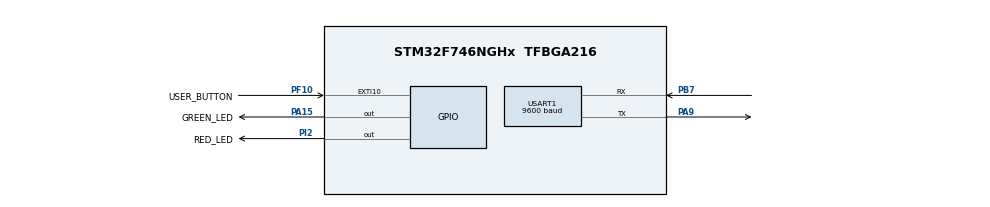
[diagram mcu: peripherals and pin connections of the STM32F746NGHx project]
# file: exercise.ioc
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Mcu.Family=STM32F7
Mcu.Name=STM32F746NGHx
Mcu.Package=TFBGA216
NVIC.EXTI15_10_IRQn=true\:0\:0\:false\:false\:true\:true\:true
NVIC.PriorityGroup=NVIC_PRIORITYGROUP_4
NVIC.TIM8_TRG_COM_TIM14_IRQn=true\:0\:0\:false\:false\:true\:false\:true
NVIC.TimeBase=TIM8_TRG_COM_TIM14_IRQn
NVIC.TimeBaseIP=TIM14
NVIC.USART1_IRQn=true\:0\:0\:false\:false\:true\:true\:true
PA13.Mode=Serial_Wire
PA13.Signal=SYS_JTMS-SWDIO
PA14.Mode=Serial_Wire
PA14.Signal=SYS_JTCK-SWCLK
PA15.GPIO_Label=GREEN_LED
PA15.Signal=GPIO_Output
PA9.Mode=Asynchronous
PA9.Signal=USART1_TX
PB7.Mode=Asynchronous
PB7.Signal=USART1_RX
PC14/OSC32_IN.Mode=LSE-External-Clock-Source
PC14/OSC32_IN.Signal=RCC_OSC32_IN
PC15/OSC32_OUT.Mode=LSE-External-Clock-Source
PC15/OSC32_OUT.Signal=RCC_OSC32_OUT
PF10.GPIO_Label=USER_BUTTON
PF10.GPIO_ModeDefaultEXTI=GPIO_MODE_IT_RISING_FALLING
PF10.GPIO_PuPd=GPIO_PULLDOWN
PF10.Signal=GPXTI10
PH0/OSC_IN.Mode=HSE-External-Oscillator
PH0/OSC_IN.Signal=RCC_OSC_IN
PH1/OSC_OUT.Mode=HSE-External-Oscillator
PH1/OSC_OUT.Signal=RCC_OSC_OUT
PI2.GPIO_Label=RED_LED
PI2.Signal=GPIO_Output
ProjectManager.HeapSize=0x200
ProjectManager.StackSize=0x400
ProjectManager.TargetToolchain=STM32CubeIDE
RCC.HSE_VALUE=25000000
RCC.HSI_VALUE=16000000
RCC.LSE_VALUE=32768
RCC.USBFreq_Value=96000000
RCC.VCOOutputFreq_Value=192000000
USART1.BaudRate=9600
USART1.VirtualMode-Asynchronous=VM_ASYNC
VP_SYS_VS_tim14.Mode=TIM14
board=custom

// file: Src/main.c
/* USER CODE BEGIN Header */
/**
  ******************************************************************************
  * @file           : main.c
  * @brief          : Main program body
  ******************************************************************************
  * @attention
  *
  * <h2><center>&copy; Copyright (c) 2019 STMicroelectronics.
  * All rights reserved.</center></h2>
  *
  * This software component is licensed by ST under BSD 3-Clause license,
  * the "License"; You may not use this file except in compliance with the
  * License. You may obtain a copy of the License at:
  *                        opensource.org/licenses/BSD-3-Clause
  *
  ******************************************************************************
  */
/* USER CODE END Header */

#include "main.h"

/* USER CODE BEGIN Includes */
#include "stdio.h"
#include "stdlib.h"
#include "string.h"
/* USER CODE END Includes */

UART_HandleTypeDef huart1;

/* USER CODE BEGIN PV */
char received_char;
int new_input;
char read_text[20];
int text_length = 0;
int counter = 0;
/* USER CODE END PV */

void SystemClock_Config(void);
static void MX_GPIO_Init(void);
static void MX_USART1_UART_Init(void);
/* USER CODE BEGIN PFP */
void execute_commands();
/* USER CODE END PFP */

/* USER CODE BEGIN 0 */
void execute_commands(){

	if(new_input){
		read_text[text_length] = received_char;
		++text_length;
		if(received_char == '\n'){
			if(strcmp(read_text, "on\n") == 0){
				HAL_GPIO_WritePin(GREEN_LED_GPIO_Port, GREEN_LED_Pin, 1);
			}else if(strcmp(read_text, "off\n") == 0){
				HAL_GPIO_WritePin(GREEN_LED_GPIO_Port, GREEN_LED_Pin, 0);
			}
			text_length = 0;
		}
		new_input = 0;
		HAL_UART_Receive_IT(&huart1, (uint8_t*)(&received_char), 1);
	}
	if(new_input){
		read_text[text_length] = received_char;
		++text_length;
		if(received_char == '\n'){
	if(read_text != "on\n" || read_text != "off\n"){
		if(counter <= 3){
		counter++;
		HAL_GPIO_WritePin(RED_LED_GPIO_Port, RED_LED_Pin, 1);
		HAL_Delay(500);
		HAL_GPIO_WritePin(RED_LED_GPIO_Port, RED_LED_Pin, 0);
		}
	  }
	}
  }
}
/* USER CODE END 0 */

int main(void)
{

  /* MCU Configuration--------------------------------------------------------*/

  /* Reset of all peripherals, Initializes the Flash interface and the Systick. */
  HAL_Init();

  /* Configure the system clock */
  SystemClock_Config();

  /* Initialize all configured peripherals */
  MX_GPIO_Init();
  MX_USART1_UART_Init();
  /* USER CODE BEGIN 2 */
  HAL_UART_Receive_IT(&huart1, (uint8_t *)(&received_char), 1);
  /* USER CODE END 2 */

  /* Infinite loop */
  /* USER CODE BEGIN WHILE */
  while (1)
  {
	  execute_commands();

    /* USER CODE END WHILE */

  }
}

void SystemClock_Config(void)
{
  RCC_OscInitTypeDef RCC_OscInitStruct = {0};
  RCC_ClkInitTypeDef RCC_ClkInitStruct = {0};
  RCC_PeriphCLKInitTypeDef PeriphClkInitStruct = {0};

  /** Configure the main internal regulator output voltage
  */
  __HAL_RCC_PWR_CLK_ENABLE();
  __HAL_PWR_VOLTAGESCALING_CONFIG(PWR_REGULATOR_VOLTAGE_SCALE3);
  /** Initializes the CPU, AHB and APB busses clocks
  */
  RCC_OscInitStruct.OscillatorType = RCC_OSCILLATORTYPE_HSI;
  RCC_OscInitStruct.HSIState = RCC_HSI_ON;
  RCC_OscInitStruct.HSICalibrationValue = RCC_HSICALIBRATION_DEFAULT;
  RCC_OscInitStruct.PLL.PLLState = RCC_PLL_NONE;
  if (HAL_RCC_OscConfig(&RCC_OscInitStruct) != HAL_OK)
  {
    Error_Handler();
  }
  /** Initializes the CPU, AHB and APB busses clocks
  */
  RCC_ClkInitStruct.ClockType = RCC_CLOCKTYPE_HCLK|RCC_CLOCKTYPE_SYSCLK
                              |RCC_CLOCKTYPE_PCLK1|RCC_CLOCKTYPE_PCLK2;
  RCC_ClkInitStruct.SYSCLKSource = RCC_SYSCLKSOURCE_HSI;
  RCC_ClkInitStruct.AHBCLKDivider = RCC_SYSCLK_DIV1;
  RCC_ClkInitStruct.APB1CLKDivider = RCC_HCLK_DIV1;
  RCC_ClkInitStruct.APB2CLKDivider = RCC_HCLK_DIV1;

  if (HAL_RCC_ClockConfig(&RCC_ClkInitStruct, FLASH_LATENCY_0) != HAL_OK)
  {
    Error_Handler();
  }
  PeriphClkInitStruct.PeriphClockSelection = RCC_PERIPHCLK_USART1;
  PeriphClkInitStruct.Usart1ClockSelection = RCC_USART1CLKSOURCE_PCLK2;
  if (HAL_RCCEx_PeriphCLKConfig(&PeriphClkInitStruct) != HAL_OK)
  {
    Error_Handler();
  }
}

static void MX_USART1_UART_Init(void)
{

  huart1.Instance = USART1;
  huart1.Init.BaudRate = 9600;
  huart1.Init.WordLength = UART_WORDLENGTH_8B;
  huart1.Init.StopBits = UART_STOPBITS_1;
  huart1.Init.Parity = UART_PARITY_NONE;
  huart1.Init.Mode = UART_MODE_TX_RX;
  huart1.Init.HwFlowCtl = UART_HWCONTROL_NONE;
  huart1.Init.OverSampling = UART_OVERSAMPLING_16;
  huart1.Init.OneBitSampling = UART_ONE_BIT_SAMPLE_DISABLE;
  huart1.AdvancedInit.AdvFeatureInit = UART_ADVFEATURE_NO_INIT;
  if (HAL_UART_Init(&huart1) != HAL_OK)
  {
    Error_Handler();
  }

}

static void MX_GPIO_Init(void)
{
  GPIO_InitTypeDef GPIO_InitStruct = {0};

  /* GPIO Ports Clock Enable */
  __HAL_RCC_GPIOA_CLK_ENABLE();
  __HAL_RCC_GPIOB_CLK_ENABLE();
  __HAL_RCC_GPIOI_CLK_ENABLE();
  __HAL_RCC_GPIOC_CLK_ENABLE();
  __HAL_RCC_GPIOH_CLK_ENABLE();
  __HAL_RCC_GPIOF_CLK_ENABLE();

  /*Configure GPIO pin Output Level */
  HAL_GPIO_WritePin(GREEN_LED_GPIO_Port, GREEN_LED_Pin, GPIO_PIN_RESET);

  /*Configure GPIO pin Output Level */
  HAL_GPIO_WritePin(RED_LED_GPIO_Port, RED_LED_Pin, GPIO_PIN_RESET);

  /*Configure GPIO pin : GREEN_LED_Pin */
  GPIO_InitStruct.Pin = GREEN_LED_Pin;
  GPIO_InitStruct.Mode = GPIO_MODE_OUTPUT_PP;
  GPIO_InitStruct.Pull = GPIO_NOPULL;
  GPIO_InitStruct.Speed = GPIO_SPEED_FREQ_LOW;
  HAL_GPIO_Init(GREEN_LED_GPIO_Port, &GPIO_InitStruct);

  /*Configure GPIO pin : RED_LED_Pin */
  GPIO_InitStruct.Pin = RED_LED_Pin;
  GPIO_InitStruct.Mode = GPIO_MODE_OUTPUT_PP;
  GPIO_InitStruct.Pull = GPIO_NOPULL;
  GPIO_InitStruct.Speed = GPIO_SPEED_FREQ_LOW;
  HAL_GPIO_Init(RED_LED_GPIO_Port, &GPIO_InitStruct);

  /*Configure GPIO pin : USER_BUTTON_Pin */
  GPIO_InitStruct.Pin = USER_BUTTON_Pin;
  GPIO_InitStruct.Mode = GPIO_MODE_IT_RISING_FALLING;
  GPIO_InitStruct.Pull = GPIO_PULLDOWN;
  HAL_GPIO_Init(USER_BUTTON_GPIO_Port, &GPIO_InitStruct);

  /* EXTI interrupt init*/
  HAL_NVIC_SetPriority(EXTI15_10_IRQn, 0, 0);
  HAL_NVIC_EnableIRQ(EXTI15_10_IRQn);

}

/* USER CODE BEGIN 4 */

void HAL_UART_RxCpltCallback(UART_HandleTypeDef* huart)
{
    if (huart->Instance == USART1) {
    	new_input = 1;
    }
}

int __io_putchar(int ch)
{
    HAL_UART_Transmit(&huart1, (uint8_t*)&ch, 1, 0xFFFF);
    return ch;
}
/* USER CODE END 4 */

void HAL_TIM_PeriodElapsedCallback(TIM_HandleTypeDef *htim)
{
  if (htim->Instance == TIM14) {
    HAL_IncTick();
  }
}

void Error_Handler(void)
{
}

/************************ (C) COPYRIGHT STMicroelectronics *****END OF FILE****/
